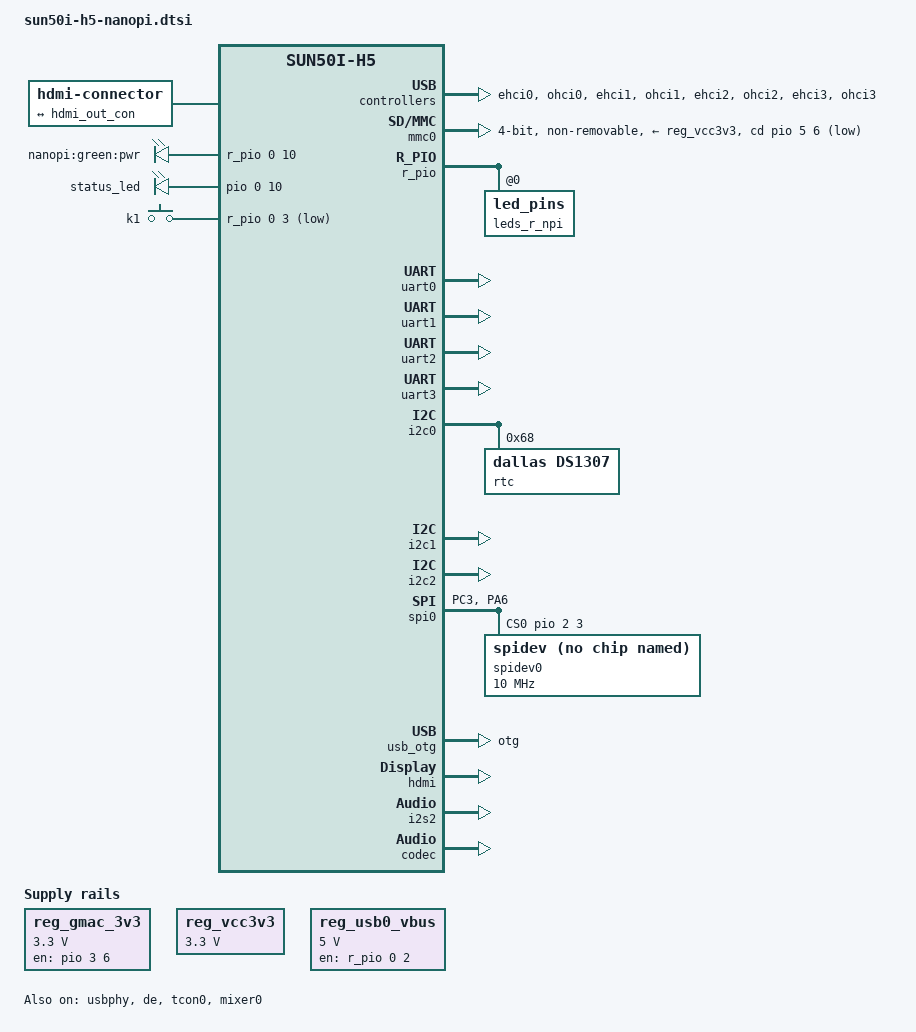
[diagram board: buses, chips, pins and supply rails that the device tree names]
/*
 * Copyright (C) 2016 ARM Ltd.
 *
 * This file is dual-licensed: you can use it either under the terms
 * of the GPL or the X11 license, at your option. Note that this dual
 * licensing only applies to this file, and not this project as a
 * whole.
 *
 *  a) This file is free software; you can redistribute it and/or
 *     modify it under the terms of the GNU General Public License as
 *     published by the Free Software Foundation; either version 2 of the
 *     License, or (at your option) any later version.
 *
 *     This file is distributed in the hope that it will be useful,
 *     but WITHOUT ANY WARRANTY; without even the implied warranty of
 *     MERCHANTABILITY or FITNESS FOR A PARTICULAR PURPOSE.  See the
 *     GNU General Public License for more details.
 *
 * Or, alternatively,
 *
 *  b) Permission is hereby granted, free of charge, to any person
 *     obtaining a copy of this software and associated documentation
 *     files (the "Software"), to deal in the Software without
 *     restriction, including without limitation the rights to use,
 *     copy, modify, merge, publish, distribute, sublicense, and/or
 *     sell copies of the Software, and to permit persons to whom the
 *     Software is furnished to do so, subject to the following
 *     conditions:
 *
 *     The above copyright notice and this permission notice shall be
 *     included in all copies or substantial portions of the Software.
 *
 *     THE SOFTWARE IS PROVIDED "AS IS", WITHOUT WARRANTY OF ANY KIND,
 *     EXPRESS OR IMPLIED, INCLUDING BUT NOT LIMITED TO THE WARRANTIES
 *     OF MERCHANTABILITY, FITNESS FOR A PARTICULAR PURPOSE AND
 *     NONINFRINGEMENT. IN NO EVENT SHALL THE AUTHORS OR COPYRIGHT
 *     HOLDERS BE LIABLE FOR ANY CLAIM, DAMAGES OR OTHER LIABILITY,
 *     WHETHER IN AN ACTION OF CONTRACT, TORT OR OTHERWISE, ARISING
 *     FROM, OUT OF OR IN CONNECTION WITH THE SOFTWARE OR THE USE OR
 *     OTHER DEALINGS IN THE SOFTWARE.
 */

/dts-v1/;
#include "sun50i-h5.dtsi"

#include <dt-bindings/gpio/gpio.h>
#include <dt-bindings/input/input.h>
#include <dt-bindings/pinctrl/sun4i-a10.h>
#include <dt-bindings/thermal/thermal.h>

/ {
    aliases {
        serial0 = &uart0;
        serial1 = &uart1;
        serial2 = &uart2;
        serial3 = &uart3;
        i2c0 = &i2c0;
        i2c1 = &i2c1;
        i2c2 = &i2c2;
        spi0 = &spi0;
        spi1 = &spi1;
        pwm0 = &pwm;
        mmc0 = &mmc0;
        mmc2 = &mmc2;
        ethernet0 = &emac;
        i2s0 = &i2s0;
        pcm5102a = &pcm5102a;
        spidev0 = &spidev0;
        spiflash = &spiflash;
        spioled = &spioled;
        pitft = &pitft;
        pitft_ts = &pitft_ts;
		ir = &ir;
    };

    chosen {
        stdout-path = "serial0:115200n8";
    };

    connector {
        compatible = "hdmi-connector";
        type = "a";

        port {
            hdmi_con_in: endpoint {
                remote-endpoint = <&hdmi_out_con>;
            };
        };
    };

    leds {
        compatible = "gpio-leds";
        pinctrl-names = "default";
        pinctrl-0 = <&leds_npi>, <&leds_r_npi>;

        pwr {
            label = "nanopi:green:pwr";
            gpios = <&r_pio 0 10 GPIO_ACTIVE_HIGH>;
            default-state = "on";
        };

        status {
            label = "status_led";
            gpios = <&pio 0 10 GPIO_ACTIVE_HIGH>;
            linux,default-trigger = "heartbeat";
        };
    };

    r-gpio-keys {
        compatible = "gpio-keys";

        k1@0 {
            label = "k1";
            linux,code = <KEY_POWER>;
            gpios = <&r_pio 0 3 GPIO_ACTIVE_LOW>;
        };
    };

    reg_gmac_3v3: gmac-3v3 {
        compatible = "regulator-fixed";
        regulator-name = "gmac-3v3";
        regulator-min-microvolt = <3300000>;
        regulator-max-microvolt = <3300000>;
        startup-delay-us = <100000>;
        enable-active-high;
        gpio = <&pio 3 6 GPIO_ACTIVE_HIGH>;
    };

    reg_vcc3v3: vcc3v3 {
        compatible = "regulator-fixed";
        regulator-name = "vcc3v3";
        regulator-min-microvolt = <3300000>;
        regulator-max-microvolt = <3300000>;
    };

    reg_usb0_vbus: usb0-vbus {
        compatible = "regulator-fixed";
        regulator-name = "usb0-vbus";
        regulator-min-microvolt = <5000000>;
        regulator-max-microvolt = <5000000>;
        enable-active-high;
        gpio = <&r_pio 0 2 GPIO_ACTIVE_HIGH>; /* PL2 */
        status = "okay";
    };

    pcm5102a: pcm5102a-codec {
        #sound-dai-cells = <0>;
        compatible = "ti,pcm5102a";
        status = "disabled";
    };

    sound_i2s {
        compatible = "simple-audio-card";
        simple-audio-card,name = "I2S-master";
        simple-audio-card,mclk-fs = <256>;
        simple-audio-card,format = "i2s";
        status = "okay";

        simple-audio-card,cpu {
            sound-dai = <&i2s0>;
        };

        simple-audio-card,codec {
            sound-dai = <&pcm5102a>;
        };
    };
};

&ehci0 {
    status = "okay";
};

&ohci0 {
    status = "okay";
};

&ehci1 {
    status = "okay";
};

&ohci1 {
    status = "okay";
};

&ehci2 {
    status = "okay";
};

&ohci2 {
    status = "okay";
};

&ehci3 {
    status = "okay";
};

&ohci3 {
    status = "okay";
};

&mmc0 {
    pinctrl-names = "default";
    pinctrl-0 = <&mmc0_pins_a>, <&mmc0_cd_pin>;
    vmmc-supply = <&reg_vcc3v3>;
    non-removable;
    bus-width = <4>;
    cd-gpios = <&pio 5 6 GPIO_ACTIVE_LOW>; /* PF6 */
    boot_device = <0>;
    status = "okay";
};

&mmc2 {
    boot_device = <0>;
};

&pio {
    leds_npi: led_pins@0 {
        pins = "PA10";
        function = "gpio_out";
    };
    spi0_cs_pins: spi0_cs_pins {
        pins = "PC3", "PA6";
        function = "gpio_out";
    };
};

&r_pio {
    leds_r_npi: led_pins@0 {
        pins = "PL10";
        function = "gpio_out";
    };
};

&uart0 {
    pinctrl-names = "default";
    pinctrl-0 = <&uart0_pins_a>;
    status = "okay";
};

&uart1 {
    pinctrl-names = "default";
    pinctrl-0 = <&uart1_pins>;
    status = "okay";
};

&uart2 {
    pinctrl-names = "default";
    pinctrl-0 = <&uart2_pins>;
    status = "okay";
};

&uart3 {
    pinctrl-names = "default";
    pinctrl-0 = <&uart3_pins>, <&uart3_rts_cts_pins>;
    status = "okay";
};

&i2c0 {
    status = "okay";
    rtc@68 {
        compatible = "dallas,ds1307";
        reg = <0x68>;
    };
};

&i2c1 {
    status = "okay";
};

&i2c2 {
    status = "okay";
};

&spi0 {
    /* needed to avoid dtc warning */
    #address-cells = <1>;
    #size-cells = <0>;

    status = "okay";
    pinctrl-names = "default";
    pinctrl-0 = <&spi0_pins &spi0_cs_pins>;
    cs-gpios = <&pio 2 3 GPIO_ACTIVE_HIGH>, <&pio 0 6 GPIO_ACTIVE_HIGH>;

    spidev0: spi@0 {
        compatible = "nanopi,spidev";
        reg = <0>;
        status = "okay";

        spi-max-frequency = <10000000>;
    };

    spiflash: spiflash@0 {
        #address-cells = <1>;
        #size-cells = <1>;
        compatible = "mxicy,mx25l12805d";
        reg = <0>;
        status = "disabled";

        spi-max-frequency = <50000000>;
        mode = <0>;

        partition@0 {
            reg = <0x0 0x1000000>;
            label = "spi-flash";
        };
    };

    spioled: spioled@0{
        compatible = "solomon,ssd1306";
        reg = <0>;
        status = "disabled";

        spi-max-frequency = <1000000>;
        rotate = <0>;
        fps = <30>;
        buswidth = <8>;
        dc-gpios = <&pio 0 1 GPIO_ACTIVE_LOW>;     /* PA1 */
        reset-gpios = <&pio 6 11 GPIO_ACTIVE_LOW>; /* PG11 */
        debug = <0x0>;
    };

    pitft: pitft@0{
        compatible = "sitronix,st7789v";
        reg = <0>;
        status = "disabled";

        spi-max-frequency = <50000000>;
        rotate = <90>;
        fps = <33>;
        buswidth = <8>;
        dc-gpios = <&pio 0 1 GPIO_ACTIVE_HIGH>;     /* PA1 */
        reset-gpios = <&pio 6 11 GPIO_ACTIVE_HIGH>; /* PG11 */
        led-gpios = <&pio 0 0 GPIO_ACTIVE_LOW>;  /* PA0 */
        debug = <0x0>;
    };

    pitft_ts: pitft-ts@1 {
        compatible = "ti,ads7846";
        reg = <1>;
        status = "disabled";

        spi-max-frequency = <2000000>;
        interrupt-parent = <&pio>;
        interrupts = <6 9 IRQ_TYPE_EDGE_FALLING>;   /* PG9 / EINT9 */
        pendown-gpio = <&pio 6 9 GPIO_ACTIVE_LOW>;
        ti,swap-xy;
        ti,vref-delay-usecs = <1000>;
        ti,x-min = /bits/ 16 <100>;
        ti,x-max = /bits/ 16 <0xfff>;
        ti,y-min = /bits/ 16 <100>;
        ti,y-max = /bits/ 16 <0xfff>;
        ti,vref-mv = <3300>;
        ti,x-plate-ohms = /bits/ 16 <256>;
        ti,penirq-recheck-delay-usecs = <10>;
        ti,settle-delay-usec = /bits/ 16 <100>;
        ti,keep-vref-on = <1>;
        ti,pressure-max = /bits/ 16 <0xfff>;
        ti,debounce-max = <10>;
        ti,debounce-tol = <30>;
        ti,debounce-rep = <1>;
    };
};

&spi1 {
    // against uart3_rts_cts_pins, so disable
    status = "disable";
    spidev1: spi@1 {
        compatible = "nanopi,spidev";
        reg = <0>;
        spi-max-frequency = <10000000>;
    };
};

&reg_usb0_vbus {
    gpio = <&r_pio 0 2 GPIO_ACTIVE_HIGH>; /* PL2 */
    status = "okay";
};

&usb_otg {
    // OTG is not stable.
    // most nanopi-h3's MicroUSB support OTG, except:
    // 1. nanopi-neo-V1.4 support OTG, nanopi-neo-V1.3/1.2... support USB device.
    // 2. nanopi-k1 only use as power.
    dr_mode = "otg";
    status = "okay";
};

&usbphy {
    usb0_id_det-gpios = <&pio 6 12 GPIO_ACTIVE_HIGH>; /* PG12 */
    usb0_vbus-supply = <&reg_usb0_vbus>;
    status = "okay";
};

&de {
    status = "okay";
};

&hdmi {
    status = "okay";
};

&hdmi_out {
    hdmi_out_con: endpoint {
        remote-endpoint = <&hdmi_con_in>;
    };
};

&sound_hdmi {
    status = "okay";
};

&tcon0 {
    status = "okay";
};

&mixer0 {
    status = "okay";
};

&i2s0 {
    sound-dai = <&pcm5102a>;
    status = "disabled";
};

&i2s2 {
    status = "okay";
};

&emac {
    local-mac-address = [ 00 00 00 00 00 00 ];  
};

&codec {
    allwinner,audio-routing =
        "Line Out", "LINEOUT",
        "MIC1", "Mic",
        "Mic",  "MBIAS";
    status = "okay";
};

&pwm {
    pinctrl-names = "default";
    pinctrl-0 = <&pwm0_pins>;
    status = "disabled";
};

&ir {
    pinctrl-names = "default";
    pinctrl-0 = <&ir_pins_a>;
    status = "disabled";
};
